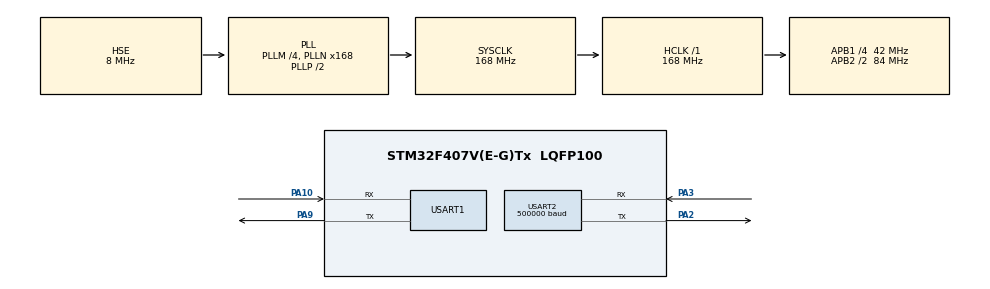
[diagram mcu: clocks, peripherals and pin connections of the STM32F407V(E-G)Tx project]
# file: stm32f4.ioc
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Mcu.Family=STM32F4
Mcu.Name=STM32F407V(E-G)Tx
Mcu.Package=LQFP100
NVIC.PriorityGroup=NVIC_PRIORITYGROUP_4
PA10.Mode=Asynchronous
PA10.Signal=USART1_RX
PA13.Mode=JTAG_5_pins
PA13.Signal=SYS_JTMS-SWDIO
PA14.Mode=JTAG_5_pins
PA14.Signal=SYS_JTCK-SWCLK
PA15.Mode=JTAG_5_pins
PA15.Signal=SYS_JTDI
PA2.Mode=Asynchronous
PA2.Signal=USART2_TX
PA3.Mode=Asynchronous
PA3.Signal=USART2_RX
PA9.Mode=Asynchronous
PA9.Signal=USART1_TX
PB3.Mode=JTAG_5_pins
PB3.Signal=SYS_JTDO-SWO
PB4.Mode=JTAG_5_pins
PB4.Signal=SYS_JTRST
PH0-OSC_IN.Mode=HSE-External-Oscillator
PH0-OSC_IN.Signal=RCC_OSC_IN
PH1-OSC_OUT.Mode=HSE-External-Oscillator
PH1-OSC_OUT.Signal=RCC_OSC_OUT
ProjectManager.HeapSize=0x200
ProjectManager.StackSize=0x400
ProjectManager.TargetToolchain=MDK-ARM V5.27
RCC.48MHZClocksFreq_Value=84000000
RCC.AHBFreq_Value=168000000
RCC.APB1CLKDivider=RCC_HCLK_DIV4
RCC.APB1Freq_Value=42000000
RCC.APB1TimFreq_Value=84000000
RCC.APB2CLKDivider=RCC_HCLK_DIV2
RCC.APB2Freq_Value=84000000
RCC.APB2TimFreq_Value=168000000
RCC.CortexFreq_Value=168000000
RCC.HCLKFreq_Value=168000000
RCC.HSE_VALUE=8000000
RCC.HSI_VALUE=16000000
RCC.LSE_VALUE=32768
RCC.PLLM=4
RCC.PLLN=168
RCC.PLLSourceVirtual=RCC_PLLSOURCE_HSE
RCC.SYSCLKFreq_VALUE=168000000
RCC.SYSCLKSource=RCC_SYSCLKSOURCE_PLLCLK
RCC.VCOOutputFreq_Value=336000000
USART1.VirtualMode=VM_ASYNC
USART2.BaudRate=500000
USART2.VirtualMode=VM_ASYNC
board=custom

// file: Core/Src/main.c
/* USER CODE BEGIN Header */
/**
  ******************************************************************************
  * @file           : main.c
  * @brief          : Main program body
  ******************************************************************************
  * @attention
  *
  * <h2><center>&copy; Copyright (c) 2024 STMicroelectronics.
  * All rights reserved.</center></h2>
  *
  * This software component is licensed by ST under BSD 3-Clause license,
  * the "License"; You may not use this file except in compliance with the
  * License. You may obtain a copy of the License at:
  *                        opensource.org/licenses/BSD-3-Clause
  *
  ******************************************************************************
  */
/* USER CODE END Header */
#include "main.h"

/* USER CODE BEGIN Includes */
#include <stdio.h>
#include <../../SCSLib/SCServo.h>
/* USER CODE END Includes */

UART_HandleTypeDef huart1;
UART_HandleTypeDef huart2;

void SystemClock_Config(void);
static void MX_GPIO_Init(void);
static void MX_USART1_UART_Init(void);
static void MX_USART2_UART_Init(void);
/* USER CODE BEGIN PFP */
void examples(void);
void setup(void);
/* USER CODE END PFP */

/* USER CODE BEGIN 0 */
//printf函数串口重定向
int fputc(int c, FILE *f)
{
	HAL_UART_Transmit(&huart1, (uint8_t *)&c, 1, 100);
	return c;
}

//FT舵机串口指令发送函数
void ftUart_Send(uint8_t *nDat , int nLen)
{
	HAL_UART_Transmit(&huart2, nDat, nLen, 100);
}

//FT舵机串口指令应答接收函数
int ftUart_Read(uint8_t *nDat, int nLen)
{
	if(HAL_OK!=HAL_UART_Receive(&huart2, nDat, nLen, 100)){
		return 0;
	}else{
		return nLen;
	}
}

//FT舵机总线切换延时，时间大于10us
void ftBus_Delay(void)
{
	HAL_Delay(1);
}

/* USER CODE END 0 */

int main(void)
{

  /* MCU Configuration--------------------------------------------------------*/

  /* Reset of all peripherals, Initializes the Flash interface and the Systick. */
  HAL_Init();

  /* Configure the system clock */
  SystemClock_Config();

  /* Initialize all configured peripherals */
  MX_GPIO_Init();
  MX_USART1_UART_Init();
  MX_USART2_UART_Init();
  /* USER CODE BEGIN 2 */
	//等待舵机上电启动
	HAL_Delay(1000);
	//舵机库初始化配置
	setup();
  /* USER CODE END 2 */

  /* Infinite loop */
  /* USER CODE BEGIN WHILE */
  while (1)
  {
		examples();
    /* USER CODE END WHILE */

  }
}

void SystemClock_Config(void)
{
  RCC_OscInitTypeDef RCC_OscInitStruct = {0};
  RCC_ClkInitTypeDef RCC_ClkInitStruct = {0};

  /** Configure the main internal regulator output voltage
  */
  __HAL_RCC_PWR_CLK_ENABLE();
  __HAL_PWR_VOLTAGESCALING_CONFIG(PWR_REGULATOR_VOLTAGE_SCALE1);
  /** Initializes the RCC Oscillators according to the specified parameters
  * in the RCC_OscInitTypeDef structure.
  */
  RCC_OscInitStruct.OscillatorType = RCC_OSCILLATORTYPE_HSE;
  RCC_OscInitStruct.HSEState = RCC_HSE_ON;
  RCC_OscInitStruct.PLL.PLLState = RCC_PLL_ON;
  RCC_OscInitStruct.PLL.PLLSource = RCC_PLLSOURCE_HSE;
  RCC_OscInitStruct.PLL.PLLM = 4;
  RCC_OscInitStruct.PLL.PLLN = 168;
  RCC_OscInitStruct.PLL.PLLP = RCC_PLLP_DIV2;
  RCC_OscInitStruct.PLL.PLLQ = 4;
  if (HAL_RCC_OscConfig(&RCC_OscInitStruct) != HAL_OK)
  {
    Error_Handler();
  }
  /** Initializes the CPU, AHB and APB buses clocks
  */
  RCC_ClkInitStruct.ClockType = RCC_CLOCKTYPE_HCLK|RCC_CLOCKTYPE_SYSCLK
                              |RCC_CLOCKTYPE_PCLK1|RCC_CLOCKTYPE_PCLK2;
  RCC_ClkInitStruct.SYSCLKSource = RCC_SYSCLKSOURCE_PLLCLK;
  RCC_ClkInitStruct.AHBCLKDivider = RCC_SYSCLK_DIV1;
  RCC_ClkInitStruct.APB1CLKDivider = RCC_HCLK_DIV4;
  RCC_ClkInitStruct.APB2CLKDivider = RCC_HCLK_DIV2;

  if (HAL_RCC_ClockConfig(&RCC_ClkInitStruct, FLASH_LATENCY_5) != HAL_OK)
  {
    Error_Handler();
  }
}

static void MX_USART1_UART_Init(void)
{

  huart1.Instance = USART1;
  huart1.Init.BaudRate = 115200;
  huart1.Init.WordLength = UART_WORDLENGTH_8B;
  huart1.Init.StopBits = UART_STOPBITS_1;
  huart1.Init.Parity = UART_PARITY_NONE;
  huart1.Init.Mode = UART_MODE_TX_RX;
  huart1.Init.HwFlowCtl = UART_HWCONTROL_NONE;
  huart1.Init.OverSampling = UART_OVERSAMPLING_16;
  if (HAL_UART_Init(&huart1) != HAL_OK)
  {
    Error_Handler();
  }

}

static void MX_USART2_UART_Init(void)
{

  huart2.Instance = USART2;
  huart2.Init.BaudRate = 500000;
  huart2.Init.WordLength = UART_WORDLENGTH_8B;
  huart2.Init.StopBits = UART_STOPBITS_1;
  huart2.Init.Parity = UART_PARITY_NONE;
  huart2.Init.Mode = UART_MODE_TX_RX;
  huart2.Init.HwFlowCtl = UART_HWCONTROL_NONE;
  huart2.Init.OverSampling = UART_OVERSAMPLING_16;
  if (HAL_UART_Init(&huart2) != HAL_OK)
  {
    Error_Handler();
  }

}

static void MX_GPIO_Init(void)
{

  /* GPIO Ports Clock Enable */
  __HAL_RCC_GPIOH_CLK_ENABLE();
  __HAL_RCC_GPIOA_CLK_ENABLE();
  __HAL_RCC_GPIOB_CLK_ENABLE();

}

void Error_Handler(void)
{
  __disable_irq();
  while (1)
  {
  }
}

/************************ (C) COPYRIGHT STMicroelectronics *****END OF FILE****/
